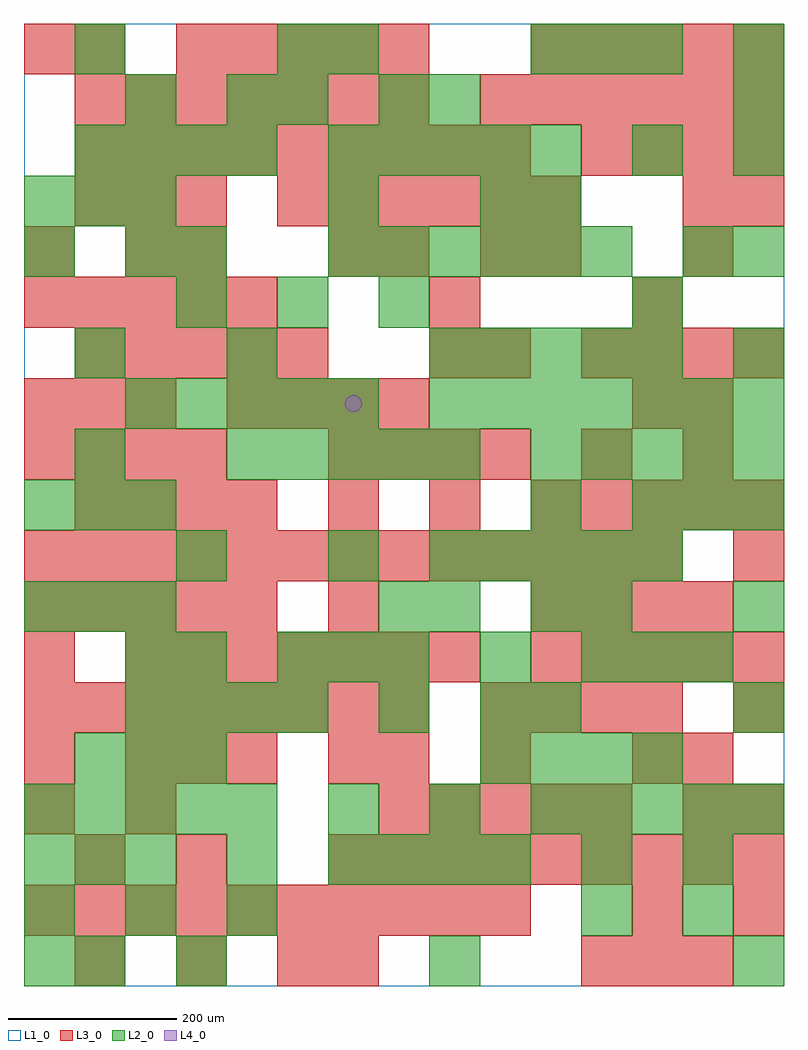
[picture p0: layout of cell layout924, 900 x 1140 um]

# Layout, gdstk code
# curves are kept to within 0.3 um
import gdstk
lib = gdstk.Library(unit=1e-6, precision=1e-09)
def R(c, l, rs):  # rectangles x0, y0, x1, y1
    for r in rs: c.add(gdstk.rectangle(r[:2], r[2:], *l))
def A(c, l, x, y, w, h, nx, ny, dx, dy):  # array of equal rectangles
    R(c, l, [(x+i*dx, y+j*dy, x+i*dx+w, y+j*dy+h) for i in range(nx) for j in range(ny)])
def P(c, l, *ps):  # polygons
    for p in ps: c.add(gdstk.Polygon(p, *l))
L1_0 = (1, 0)
L2_0 = (2, 0)
L3_0 = (3, 0)
L4_0 = (4, 0)

layout924 = lib.new_cell('layout924')
R(layout924, L1_0, [(0,0,900,1140)])
A(layout924, L2_0, 0, 60, 60, 60, 3, 1, 120, 0)
A(layout924, L2_0, 0, 120, 60, 60, 3, 2, 60, 300)
A(layout924, L2_0, 360, 120, 60, 60, 4, 1, 60, 0)
A(layout924, L2_0, 0, 180, 60, 60, 5, 1, 60, 0)
A(layout924, L2_0, 360, 180, 60, 60, 3, 1, 120, 0)
A(layout924, L2_0, 660, 180, 60, 60, 4, 1, 60, 0)
A(layout924, L2_0, 60, 240, 60, 60, 3, 1, 60, 0)
A(layout924, L2_0, 540, 240, 60, 60, 4, 1, 60, 0)
A(layout924, L2_0, 120, 300, 60, 60, 4, 1, 60, 0)
A(layout924, L2_0, 600, 300, 60, 60, 1, 3, 0, 120)
A(layout924, L2_0, 300, 360, 60, 60, 3, 1, 60, 0)
A(layout924, L2_0, 660, 360, 60, 60, 3, 1, 60, 0)
A(layout924, L2_0, 480, 480, 60, 60, 5, 2, 60, 240)
A(layout924, L2_0, 0, 540, 60, 60, 3, 2, 60, 360)
A(layout924, L2_0, 720, 540, 60, 60, 3, 1, 60, 0)
A(layout924, L2_0, 240, 600, 60, 60, 5, 1, 60, 0)
A(layout924, L2_0, 600, 600, 60, 60, 5, 1, 60, 0)
A(layout924, L2_0, 120, 660, 60, 60, 5, 1, 60, 0)
A(layout924, L2_0, 480, 660, 60, 60, 7, 1, 60, 0)
A(layout924, L2_0, 840, 720, 60, 60, 1, 3, 0, 120)
A(layout924, L2_0, 180, 780, 60, 60, 3, 1, 120, 0)
A(layout924, L2_0, 360, 840, 60, 60, 6, 1, 60, 0)
A(layout924, L2_0, 60, 960, 60, 60, 4, 1, 60, 0)
A(layout924, L2_0, 360, 960, 60, 60, 5, 1, 60, 0)
A(layout924, L2_0, 600, 1080, 60, 60, 3, 1, 60, 0)
R(layout924, L2_0, [(0,0,60,60), (60,0,120,60), (180,0,240,60), (480,0,540,60), (840,0,900,60), (660,60,720,120), (780,60,840,120), (240,120,300,180), (660,120,720,180), (780,120,840,180), (420,300,480,360), (540,300,600,360), (840,300,900,360), (120,360,180,420), (180,360,240,420), (540,360,600,420), (420,420,480,480), (480,420,540,480), (660,420,720,480), (840,420,900,480), (180,480,240,540), (360,480,420,540), (60,600,120,660), (60,720,120,780), (240,720,300,780), (720,780,780,840), (0,840,60,900), (120,840,180,900), (180,840,240,900), (780,840,840,900), (360,900,420,960), (540,900,600,960), (600,900,660,960), (720,960,780,1020), (120,1020,180,1080), (240,1020,300,1080), (300,1020,360,1080), (420,1020,480,1080), (480,1020,540,1080), (840,1020,900,1080), (60,1080,120,1140), (300,1080,360,1140), (360,1080,420,1140), (840,1080,900,1140)])
A(layout924, L3_0, 60, 0, 60, 60, 3, 1, 120, 0)
A(layout924, L3_0, 660, 0, 60, 60, 3, 1, 60, 0)
A(layout924, L3_0, 0, 60, 60, 60, 10, 1, 60, 0)
A(layout924, L3_0, 840, 60, 60, 60, 1, 3, 0, 120)
A(layout924, L3_0, 360, 120, 60, 60, 9, 1, 60, 0)
A(layout924, L3_0, 420, 180, 60, 60, 5, 1, 60, 0)
A(layout924, L3_0, 120, 240, 60, 60, 3, 1, 60, 0)
A(layout924, L3_0, 0, 300, 60, 60, 8, 1, 60, 0)
A(layout924, L3_0, 540, 300, 60, 60, 4, 1, 60, 0)
A(layout924, L3_0, 120, 360, 60, 60, 7, 1, 60, 0)
A(layout924, L3_0, 600, 360, 60, 60, 5, 2, 60, 720)
A(layout924, L3_0, 0, 420, 60, 60, 5, 2, 60, 360)
A(layout924, L3_0, 600, 420, 60, 60, 4, 1, 60, 0)
A(layout924, L3_0, 0, 480, 60, 60, 13, 1, 60, 0)
A(layout924, L3_0, 60, 540, 60, 60, 4, 1, 60, 0)
A(layout924, L3_0, 360, 540, 60, 60, 3, 1, 120, 0)
A(layout924, L3_0, 660, 540, 60, 60, 4, 2, 60, 180)
A(layout924, L3_0, 0, 600, 60, 60, 4, 1, 60, 0)
A(layout924, L3_0, 360, 600, 60, 60, 4, 1, 60, 0)
A(layout924, L3_0, 0, 660, 60, 60, 3, 1, 60, 0)
A(layout924, L3_0, 240, 660, 60, 60, 4, 1, 60, 0)
A(layout924, L3_0, 60, 720, 60, 60, 5, 1, 60, 0)
A(layout924, L3_0, 60, 900, 60, 60, 3, 1, 60, 0)
A(layout924, L3_0, 300, 900, 60, 60, 6, 1, 60, 0)
A(layout924, L3_0, 60, 960, 60, 60, 9, 1, 60, 0)
A(layout924, L3_0, 660, 960, 60, 60, 4, 1, 60, 0)
A(layout924, L3_0, 60, 1020, 60, 60, 7, 1, 60, 0)
A(layout924, L3_0, 540, 1020, 60, 60, 6, 1, 60, 0)
A(layout924, L3_0, 180, 1080, 60, 60, 5, 1, 60, 0)
R(layout924, L3_0, [(360,0,420,60), (720,60,780,120), (60,120,120,180), (180,120,240,180), (0,180,60,240), (120,180,180,240), (780,180,840,240), (0,240,60,300), (360,240,420,300), (420,240,480,300), (540,240,600,300), (720,240,780,300), (780,240,840,300), (0,360,60,420), (360,420,420,480), (840,480,900,540), (660,600,720,660), (780,600,840,660), (720,660,780,720), (780,660,840,720), (480,720,540,780), (540,720,600,780), (480,780,540,840), (720,780,780,840), (0,840,60,900), (120,840,180,900), (180,840,240,900), (360,840,420,900), (420,840,480,900), (540,840,600,900), (600,840,660,900), (780,840,840,900), (780,900,840,960), (840,900,900,960), (0,1080,60,1140), (60,1080,120,1140)])
P(layout924, L4_0, [(400,690),(399.239,693.827),(397.071,697.071),(393.827,699.239),(390,700),(386.173,699.239),(382.929,697.071),(380.761,693.827),(380,690),(380.761,686.173),(382.929,682.929),(386.173,680.761),(390,680),(393.827,680.761),(397.071,682.929),(399.239,686.173)])

lib.write_gds('layout924.gds')
